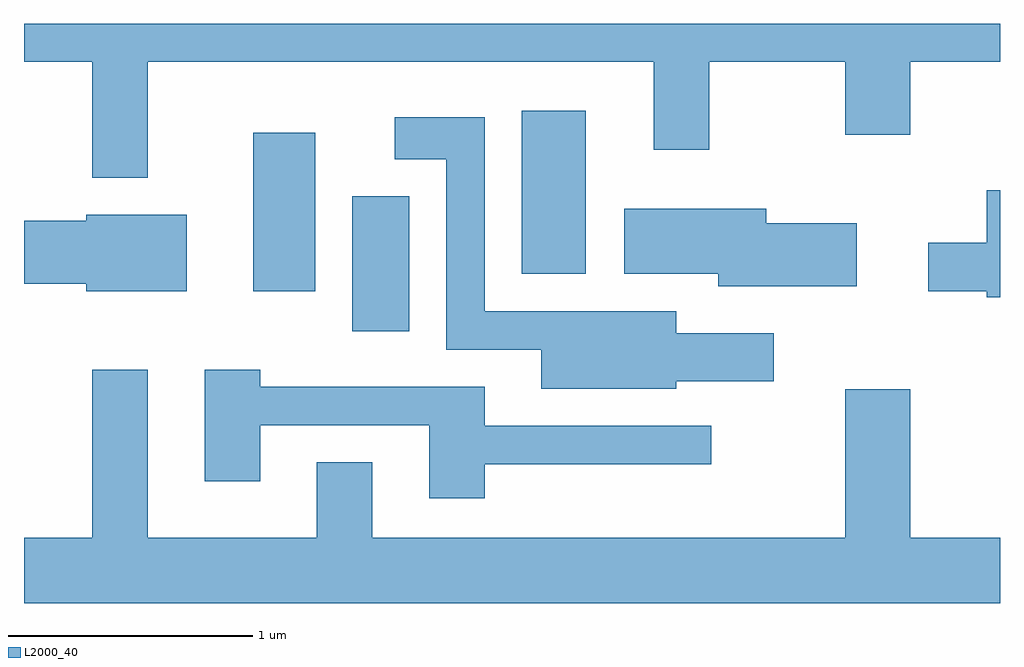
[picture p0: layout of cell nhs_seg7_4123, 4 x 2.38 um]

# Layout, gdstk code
import gdstk
lib = gdstk.Library(unit=1e-6, precision=1e-09)
def R(c, l, rs):  # rectangles x0, y0, x1, y1
    for r in rs: c.add(gdstk.rectangle(r[:2], r[2:], *l))
def P(c, l, *ps):  # polygons
    for p in ps: c.add(gdstk.Polygon(p, *l))
L2000_40 = (2000, 40)

nhs_seg7_4123 = lib.new_cell('nhs_seg7_4123')
R(nhs_seg7_4123, L2000_40, [(312.956,1710.991,313.189,1711.544), (312.551,1711.156,312.804,1711.804), (313.651,1711.226,313.914,1711.894)])
P(nhs_seg7_4123, L2000_40, [(312.119,1712.096),(314.191,1712.096),(314.191,1711.736),(314.419,1711.736),(314.419,1712.096),(314.976,1712.096),(314.976,1711.796),(315.244,1711.796),(315.244,1712.096),(315.611,1712.096),(315.611,1712.252),(311.611,1712.252),(311.611,1712.096),(311.891,1712.096),(311.891,1711.621),(312.119,1711.621)],
  [(314.284,1710.786),(314.684,1710.786),(314.684,1710.984),(314.284,1710.984),(314.284,1711.074),(313.499,1711.074),(313.499,1711.869),(313.131,1711.869),(313.131,1711.696),(313.341,1711.696),(313.341,1710.916),(313.731,1710.916),(313.731,1710.756),(314.284,1710.756)],
  [(315.611,1711.569),(315.556,1711.569),(315.556,1711.354),(315.316,1711.354),(315.316,1711.156),(315.556,1711.156),(315.556,1711.131),(315.611,1711.131)],
  [(315.024,1711.434),(314.654,1711.434),(314.654,1711.494),(314.071,1711.494),(314.071,1711.226),(314.456,1711.226),(314.456,1711.176),(315.024,1711.176)],
  [(312.279,1711.469),(311.866,1711.469),(311.866,1711.444),(311.611,1711.444),(311.611,1711.186),(311.866,1711.186),(311.866,1711.156),(312.279,1711.156)],
  [(315.611,1710.144),(315.244,1710.144),(315.244,1710.754),(314.976,1710.754),(314.976,1710.144),(313.039,1710.144),(313.039,1710.454),(312.811,1710.454),(312.811,1710.144),(312.119,1710.144),(312.119,1710.834),(311.891,1710.834),(311.891,1710.144),(311.611,1710.144),(311.611,1709.876),(315.611,1709.876)],
  [(313.499,1710.446),(314.428,1710.446),(314.428,1710.604),(313.499,1710.604),(313.499,1710.764),(312.579,1710.764),(312.579,1710.834),(312.351,1710.834),(312.351,1710.376),(312.579,1710.376),(312.579,1710.606),(313.271,1710.606),(313.271,1710.306),(313.499,1710.306)])

lib.write_gds('nhs_seg7_4123.gds')
